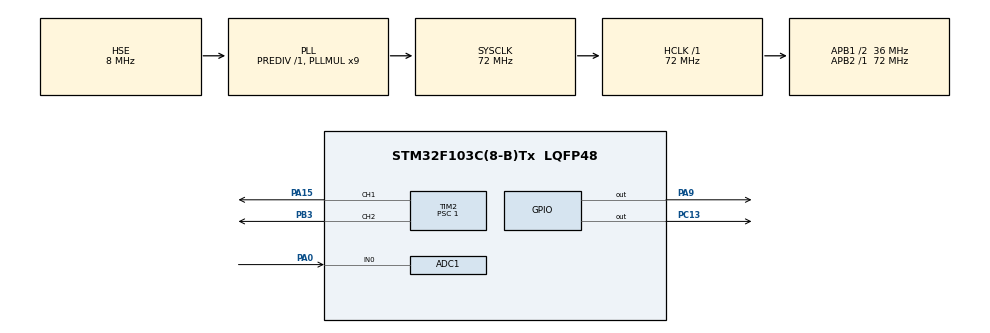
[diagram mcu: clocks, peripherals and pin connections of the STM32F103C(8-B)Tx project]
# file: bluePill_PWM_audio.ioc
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ADC1.Channel-1\#ChannelRegularConversion=ADC_CHANNEL_0
ADC1.ExternalTrigConv=ADC_EXTERNALTRIGCONV_T3_TRGO
ADC1.NbrOfConversionFlag=1
ADC1.Rank-1\#ChannelRegularConversion=1
ADC1.SamplingTime-1\#ChannelRegularConversion=ADC_SAMPLETIME_1CYCLE_5
ADC1.master=1
Dma.ADC1.0.Direction=DMA_PERIPH_TO_MEMORY
Dma.ADC1.0.Instance=DMA1_Channel1
Dma.ADC1.0.MemDataAlignment=DMA_MDATAALIGN_HALFWORD
Dma.ADC1.0.MemInc=DMA_MINC_ENABLE
Dma.ADC1.0.Mode=DMA_CIRCULAR
Dma.ADC1.0.PeriphDataAlignment=DMA_PDATAALIGN_HALFWORD
Dma.ADC1.0.PeriphInc=DMA_PINC_DISABLE
Dma.ADC1.0.Priority=DMA_PRIORITY_LOW
Dma.Request0=ADC1
Mcu.Family=STM32F1
Mcu.Name=STM32F103C(8-B)Tx
Mcu.Package=LQFP48
NVIC.DMA1_Channel1_IRQn=true\:0\:0\:false\:false\:true\:false\:true\:true
NVIC.PriorityGroup=NVIC_PRIORITYGROUP_4
NVIC.TIM3_IRQn=true\:1\:0\:true\:false\:true\:true\:true\:true
PA0-WKUP.Signal=ADCx_IN0
PA13.Mode=Serial_Wire
PA13.Signal=SYS_JTMS-SWDIO
PA14.Mode=Serial_Wire
PA14.Signal=SYS_JTCK-SWCLK
PA15.Signal=S_TIM2_CH1_ETR
PA9.Signal=GPIO_Output
PB3.Signal=S_TIM2_CH2
PC13-TAMPER-RTC.Signal=GPIO_Output
PC14-OSC32_IN.Mode=LSE-External-Oscillator
PC14-OSC32_IN.Signal=RCC_OSC32_IN
PC15-OSC32_OUT.Mode=LSE-External-Oscillator
PC15-OSC32_OUT.Signal=RCC_OSC32_OUT
PD0-OSC_IN.Mode=HSE-External-Oscillator
PD0-OSC_IN.Signal=RCC_OSC_IN
PD1-OSC_OUT.Mode=HSE-External-Oscillator
PD1-OSC_OUT.Signal=RCC_OSC_OUT
ProjectManager.HeapSize=0x200
ProjectManager.StackSize=0x400
ProjectManager.TargetToolchain=STM32CubeIDE
RCC.ADCPresc=RCC_ADCPCLK2_DIV6
RCC.AHBFreq_Value=72000000
RCC.APB1CLKDivider=RCC_HCLK_DIV2
RCC.APB1Freq_Value=36000000
RCC.APB1TimFreq_Value=72000000
RCC.APB2Freq_Value=72000000
RCC.APB2TimFreq_Value=72000000
RCC.HCLKFreq_Value=72000000
RCC.PLLMUL=RCC_PLL_MUL9
RCC.PLLSourceVirtual=RCC_PLLSOURCE_HSE
RCC.SYSCLKFreq_VALUE=72000000
RCC.SYSCLKSource=RCC_SYSCLKSOURCE_PLLCLK
RCC.USBFreq_Value=48000000
RCC.USBPrescaler=RCC_USBCLKSOURCE_PLL_DIV1_5
SH.ADCx_IN0.0=ADC1_IN0,IN0
SH.S_TIM2_CH1_ETR.0=TIM2_CH1,PWM Generation1 CH1
SH.S_TIM2_CH2.0=TIM2_CH2,PWM Generation2 CH2
TIM2.Channel-PWM\ Generation1\ CH1=TIM_CHANNEL_1
TIM2.Channel-PWM\ Generation2\ CH2=TIM_CHANNEL_2
TIM2.Period=1023
TIM2.Prescaler=1
TIM2.Pulse-PWM\ Generation1\ CH1=0
TIM2.TIM_MasterOutputTrigger=TIM_TRGO_RESET
TIM3.Channel-PWM\ Generation1\ No\ Output=TIM_CHANNEL_1
TIM3.Period=4095
TIM3.Prescaler=0
TIM3.TIM_MasterOutputTrigger=TIM_TRGO_UPDATE
VP_TIM2_VS_ClockSourceINT.Mode=Internal
VP_TIM3_VS_ClockSourceINT.Mode=Internal
VP_TIM3_VS_no_output1.Mode=PWM Generation1 No Output
board=custom

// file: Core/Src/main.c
/* USER CODE BEGIN Header */
/**
  ******************************************************************************
  * @file           : main.c
  * @brief          : Main program body
  ******************************************************************************
  * @attention
  *
  * Copyright (c) 2024 STMicroelectronics.
  * All rights reserved.
  *
  * This software is licensed under terms that can be found in the LICENSE file
  * in the root directory of this software component.
  * If no LICENSE file comes with this software, it is provided AS-IS.
  *
  ******************************************************************************
  */
/* USER CODE END Header */
#include "main.h"

/* USER CODE BEGIN Includes */
#include <stdbool.h>
/* USER CODE END Includes */

/* USER CODE BEGIN PD */
#define ADC_BUFFER_SIZE 2048
/* USER CODE END PD */

ADC_HandleTypeDef hadc1;
DMA_HandleTypeDef hdma_adc1;

TIM_HandleTypeDef htim2;
TIM_HandleTypeDef htim3;

/* USER CODE BEGIN PV */
uint16_t adc_buffer[ADC_BUFFER_SIZE];
volatile uint16_t adc_buffer_pos;
/* USER CODE END PV */

void SystemClock_Config(void);
static void MX_GPIO_Init(void);
static void MX_DMA_Init(void);
static void MX_ADC1_Init(void);
static void MX_TIM3_Init(void);
static void MX_TIM2_Init(void);

int main(void)
{

  /* USER CODE BEGIN 1 */

  //Clearing the ADC buffer
  for(uint16_t i = 0; i < ADC_BUFFER_SIZE; i++)
  {
	  adc_buffer[i] = 0;
  }

  //Setting the index of the current position to the second half
  adc_buffer_pos = ADC_BUFFER_SIZE / 2;

  /* USER CODE END 1 */

  /* MCU Configuration--------------------------------------------------------*/

  /* Reset of all peripherals, Initializes the Flash interface and the Systick. */
  HAL_Init();

  /* Configure the system clock */
  SystemClock_Config();

  /* Initialize all configured peripherals */
  MX_GPIO_Init();
  MX_DMA_Init();
  MX_ADC1_Init();
  MX_TIM3_Init();
  MX_TIM2_Init();
  /* USER CODE BEGIN 2 */

  //Starting the ADC module
  HAL_ADC_Start_DMA(&hadc1, (uint32_t*)adc_buffer, ADC_BUFFER_SIZE);

  //Starting TIM3 with interrupts
  HAL_TIM_Base_Start_IT(&htim3);

  //Starting TIM2
  HAL_TIM_PWM_Start(&htim2, TIM_CHANNEL_1);
  HAL_TIM_PWM_Start(&htim2, TIM_CHANNEL_2);

  //htim2.Instance->CCR1 = 512;
  //htim2.Instance->CCR2 = 256;

  /* USER CODE END 2 */

  /* Infinite loop */
  while (1)
  {

  }
}

void SystemClock_Config(void)
{
  RCC_OscInitTypeDef RCC_OscInitStruct = {0};
  RCC_ClkInitTypeDef RCC_ClkInitStruct = {0};
  RCC_PeriphCLKInitTypeDef PeriphClkInit = {0};

  /** Initializes the RCC Oscillators according to the specified parameters
  * in the RCC_OscInitTypeDef structure.
  */
  RCC_OscInitStruct.OscillatorType = RCC_OSCILLATORTYPE_HSE;
  RCC_OscInitStruct.HSEState = RCC_HSE_ON;
  RCC_OscInitStruct.HSEPredivValue = RCC_HSE_PREDIV_DIV1;
  RCC_OscInitStruct.HSIState = RCC_HSI_ON;
  RCC_OscInitStruct.PLL.PLLState = RCC_PLL_ON;
  RCC_OscInitStruct.PLL.PLLSource = RCC_PLLSOURCE_HSE;
  RCC_OscInitStruct.PLL.PLLMUL = RCC_PLL_MUL9;
  if (HAL_RCC_OscConfig(&RCC_OscInitStruct) != HAL_OK)
  {
    Error_Handler();
  }

  /** Initializes the CPU, AHB and APB buses clocks
  */
  RCC_ClkInitStruct.ClockType = RCC_CLOCKTYPE_HCLK|RCC_CLOCKTYPE_SYSCLK
                              |RCC_CLOCKTYPE_PCLK1|RCC_CLOCKTYPE_PCLK2;
  RCC_ClkInitStruct.SYSCLKSource = RCC_SYSCLKSOURCE_PLLCLK;
  RCC_ClkInitStruct.AHBCLKDivider = RCC_SYSCLK_DIV1;
  RCC_ClkInitStruct.APB1CLKDivider = RCC_HCLK_DIV2;
  RCC_ClkInitStruct.APB2CLKDivider = RCC_HCLK_DIV1;

  if (HAL_RCC_ClockConfig(&RCC_ClkInitStruct, FLASH_LATENCY_2) != HAL_OK)
  {
    Error_Handler();
  }
  PeriphClkInit.PeriphClockSelection = RCC_PERIPHCLK_ADC;
  PeriphClkInit.AdcClockSelection = RCC_ADCPCLK2_DIV6;
  if (HAL_RCCEx_PeriphCLKConfig(&PeriphClkInit) != HAL_OK)
  {
    Error_Handler();
  }
}

static void MX_ADC1_Init(void)
{

  ADC_ChannelConfTypeDef sConfig = {0};

  /** Common config
  */
  hadc1.Instance = ADC1;
  hadc1.Init.ScanConvMode = ADC_SCAN_DISABLE;
  hadc1.Init.ContinuousConvMode = DISABLE;
  hadc1.Init.DiscontinuousConvMode = DISABLE;
  hadc1.Init.ExternalTrigConv = ADC_EXTERNALTRIGCONV_T3_TRGO;
  hadc1.Init.DataAlign = ADC_DATAALIGN_RIGHT;
  hadc1.Init.NbrOfConversion = 1;
  if (HAL_ADC_Init(&hadc1) != HAL_OK)
  {
    Error_Handler();
  }

  /** Configure Regular Channel
  */
  sConfig.Channel = ADC_CHANNEL_0;
  sConfig.Rank = ADC_REGULAR_RANK_1;
  sConfig.SamplingTime = ADC_SAMPLETIME_1CYCLE_5;
  if (HAL_ADC_ConfigChannel(&hadc1, &sConfig) != HAL_OK)
  {
    Error_Handler();
  }

}

static void MX_TIM2_Init(void)
{

  TIM_ClockConfigTypeDef sClockSourceConfig = {0};
  TIM_MasterConfigTypeDef sMasterConfig = {0};
  TIM_OC_InitTypeDef sConfigOC = {0};

  htim2.Instance = TIM2;
  htim2.Init.Prescaler = 1;
  htim2.Init.CounterMode = TIM_COUNTERMODE_UP;
  htim2.Init.Period = 1023;
  htim2.Init.ClockDivision = TIM_CLOCKDIVISION_DIV1;
  htim2.Init.AutoReloadPreload = TIM_AUTORELOAD_PRELOAD_DISABLE;
  if (HAL_TIM_Base_Init(&htim2) != HAL_OK)
  {
    Error_Handler();
  }
  sClockSourceConfig.ClockSource = TIM_CLOCKSOURCE_INTERNAL;
  if (HAL_TIM_ConfigClockSource(&htim2, &sClockSourceConfig) != HAL_OK)
  {
    Error_Handler();
  }
  if (HAL_TIM_PWM_Init(&htim2) != HAL_OK)
  {
    Error_Handler();
  }
  sMasterConfig.MasterOutputTrigger = TIM_TRGO_RESET;
  sMasterConfig.MasterSlaveMode = TIM_MASTERSLAVEMODE_DISABLE;
  if (HAL_TIMEx_MasterConfigSynchronization(&htim2, &sMasterConfig) != HAL_OK)
  {
    Error_Handler();
  }
  sConfigOC.OCMode = TIM_OCMODE_PWM1;
  sConfigOC.Pulse = 0;
  sConfigOC.OCPolarity = TIM_OCPOLARITY_HIGH;
  sConfigOC.OCFastMode = TIM_OCFAST_DISABLE;
  if (HAL_TIM_PWM_ConfigChannel(&htim2, &sConfigOC, TIM_CHANNEL_1) != HAL_OK)
  {
    Error_Handler();
  }
  if (HAL_TIM_PWM_ConfigChannel(&htim2, &sConfigOC, TIM_CHANNEL_2) != HAL_OK)
  {
    Error_Handler();
  }
  HAL_TIM_MspPostInit(&htim2);

}

static void MX_TIM3_Init(void)
{

  TIM_ClockConfigTypeDef sClockSourceConfig = {0};
  TIM_MasterConfigTypeDef sMasterConfig = {0};
  TIM_OC_InitTypeDef sConfigOC = {0};

  htim3.Instance = TIM3;
  htim3.Init.Prescaler = 0;
  htim3.Init.CounterMode = TIM_COUNTERMODE_UP;
  htim3.Init.Period = 4095;
  htim3.Init.ClockDivision = TIM_CLOCKDIVISION_DIV1;
  htim3.Init.AutoReloadPreload = TIM_AUTORELOAD_PRELOAD_DISABLE;
  if (HAL_TIM_Base_Init(&htim3) != HAL_OK)
  {
    Error_Handler();
  }
  sClockSourceConfig.ClockSource = TIM_CLOCKSOURCE_INTERNAL;
  if (HAL_TIM_ConfigClockSource(&htim3, &sClockSourceConfig) != HAL_OK)
  {
    Error_Handler();
  }
  if (HAL_TIM_PWM_Init(&htim3) != HAL_OK)
  {
    Error_Handler();
  }
  sMasterConfig.MasterOutputTrigger = TIM_TRGO_UPDATE;
  sMasterConfig.MasterSlaveMode = TIM_MASTERSLAVEMODE_DISABLE;
  if (HAL_TIMEx_MasterConfigSynchronization(&htim3, &sMasterConfig) != HAL_OK)
  {
    Error_Handler();
  }
  sConfigOC.OCMode = TIM_OCMODE_PWM1;
  sConfigOC.Pulse = 0;
  sConfigOC.OCPolarity = TIM_OCPOLARITY_HIGH;
  sConfigOC.OCFastMode = TIM_OCFAST_DISABLE;
  if (HAL_TIM_PWM_ConfigChannel(&htim3, &sConfigOC, TIM_CHANNEL_1) != HAL_OK)
  {
    Error_Handler();
  }

}

static void MX_DMA_Init(void)
{

  /* DMA controller clock enable */
  __HAL_RCC_DMA1_CLK_ENABLE();

  /* DMA interrupt init */
  /* DMA1_Channel1_IRQn interrupt configuration */
  HAL_NVIC_SetPriority(DMA1_Channel1_IRQn, 0, 0);
  HAL_NVIC_EnableIRQ(DMA1_Channel1_IRQn);

}

static void MX_GPIO_Init(void)
{
  GPIO_InitTypeDef GPIO_InitStruct = {0};

  /* GPIO Ports Clock Enable */
  __HAL_RCC_GPIOC_CLK_ENABLE();
  __HAL_RCC_GPIOD_CLK_ENABLE();
  __HAL_RCC_GPIOA_CLK_ENABLE();
  __HAL_RCC_GPIOB_CLK_ENABLE();

  /*Configure GPIO pin Output Level */
  HAL_GPIO_WritePin(GPIOC, GPIO_PIN_13, GPIO_PIN_RESET);

  /*Configure GPIO pin Output Level */
  HAL_GPIO_WritePin(GPIOA, GPIO_PIN_9, GPIO_PIN_RESET);

  /*Configure GPIO pin : PC13 */
  GPIO_InitStruct.Pin = GPIO_PIN_13;
  GPIO_InitStruct.Mode = GPIO_MODE_OUTPUT_PP;
  GPIO_InitStruct.Pull = GPIO_NOPULL;
  GPIO_InitStruct.Speed = GPIO_SPEED_FREQ_LOW;
  HAL_GPIO_Init(GPIOC, &GPIO_InitStruct);

  /*Configure GPIO pin : PA9 */
  GPIO_InitStruct.Pin = GPIO_PIN_9;
  GPIO_InitStruct.Mode = GPIO_MODE_OUTPUT_PP;
  GPIO_InitStruct.Pull = GPIO_NOPULL;
  GPIO_InitStruct.Speed = GPIO_SPEED_FREQ_LOW;
  HAL_GPIO_Init(GPIOA, &GPIO_InitStruct);

}

/* USER CODE BEGIN 4 */

void HAL_TIM_PeriodElapsedCallback(TIM_HandleTypeDef* htim)
{
	if(htim->Instance == TIM3)
	{
		//Incrementing the position of the current sample
		adc_buffer_pos = adc_buffer_pos + 1;
		//Wrapping around if end of the ADC buffer was reached
		if(adc_buffer_pos >= ADC_BUFFER_SIZE)
		{
			adc_buffer_pos = 0;
		}

		htim2.Instance->CCR1 = adc_buffer[adc_buffer_pos] >> 2;
		//TIM2->CCR1 = adc_buffer[adc_buffer_pos] >> 2;
	}
}

void HAL_ADC_ConvHalfCpltCallback(ADC_HandleTypeDef* hadc)
{

}

void HAL_ADC_ConvCpltCallback(ADC_HandleTypeDef* hadc)
{

}
/* USER CODE END 4 */

void Error_Handler(void)
{
  __disable_irq();
  while (1)
  {
  }
}
